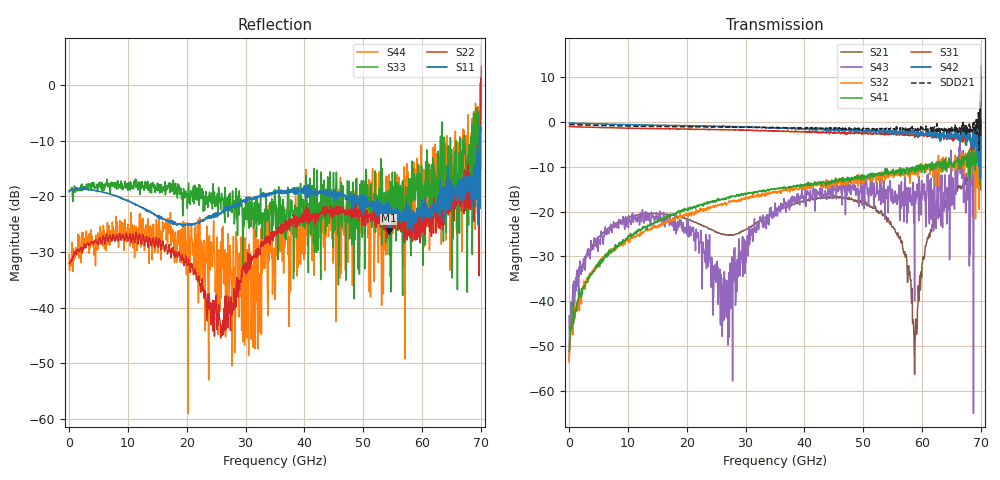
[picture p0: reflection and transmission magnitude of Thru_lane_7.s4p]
!Pstart = -2.000000E+001
!Pstop = -1.000000E+001
!Pstep = 2.564103E-001
! 4/30/2026 1:33:02 PM
! C:\ANRITSUVNA\TEMP\TEMP.S4P
! CHANNEL.1
! TR.MEASUREMENT
! CORRECTED.DATA
! RF.CORRECTION: FULL.FOUR.PORT.CAL.PORT.1.2.3.4
! AVERAGING.OFF
! IF.BANDWIDTH: 100HZ
! SWEEPTYPE:  FREQ.SWEEP(Linear)
! Reference Plane Port Info
! DISTANCE:  0  m  0  m  0  m  0  m
! TIME:  0  s  0  s  0  s  0  s
! PHASE.OFFSET:  0 °  0 °  0 °  0 °
! LOSS:  0  dB  0  dB  0  dB  0  dB
! REF.LOSS:  0  dB  0  dB  0  dB  0  dB
! REF.FREQ:  0  Hz  0  Hz  0  Hz  0  Hz
! Power Info
! POWER:  -20  dBm  -20  dBm  -20  dBm  -20  dBm
! EFF.POWER:  -20  dBm  -20  dBm  -40  dBm  -40  dBm
! SOURCE.ATTEN:  0  dB  0  dB  20  dB  20  dB
! TEST.ATTEN:  0  dB  0  dB  20  dB  20  dB
! Created with skrf 1.9.0 (http://scikit-rf.org).
# Hz S RI R 50.0
!freq ReS11 ImS11 ReS12 ImS12 ReS13 ImS13
! ReS14 ImS14
! ReS21 ImS21 ReS22 ImS22 ReS23 ImS23
! ReS24 ImS24
! ReS31 ImS31 ReS32 ImS32 ReS33 ImS33
! ReS34 ImS34
! ReS41 ImS41 ReS42 ImS42 ReS43 ImS43
! ReS44 ImS44
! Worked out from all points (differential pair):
!   1001 points, 10 MHz to 70 GHz, reference 50 ohm
!   strongest paths, dB at 10 MHz, 17.51 GHz, 35.01 GHz, 52.5 GHz, 70 GHz:
!     S42: -0.2, -0.8, -1.3, -2.0, 12.4
!     S31: -1.0, -1.5, -2.0, -2.6, -0.1
!     S41: -51.2, -20.8, -14.9, -11.7, 6.3
!     S32: -53.7, -21.8, -15.4, -12.8, 3.3
!     S43: -43.3, -21.8, -18.1, -16.1, 10.1
!     S21: -53.3, -20.8, -20.1, -19.8, -4.2
!   taken as a pair (ports 2,1 in; 4,3 out), SDD21 dB: -0.6, -1.1, -1.2, -1.5, 0.5
!   lowest |S11| = -26.2 dB at 54.32 GHz (marker M1), VSWR 1.10, Z = 52.9 - j4.14 ohm
!   |S11| at or under -10 dB: start of sweep to 69.77 GHz; 69.79845 GHz to 69.91778 GHz (119.3 MHz wide, 0.171 % of centre)
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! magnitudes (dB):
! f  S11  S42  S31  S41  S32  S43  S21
! 10 MHz  -19.0  -0.2  -1.0  -51.2  -53.7  -43.3  -53.3
! 9.739 GHz  -20.8  -0.6  -1.4  -25.9  -26.0  -21.8  -21.5
! 26.47 GHz  -22.6  -1.0  -1.8  -17.1  -18.3  -42.3  -25.2
! 54.32 GHz  -26.2  -1.9  -2.8  -11.3  -12.3  -15.7  -21.9
! 58.8 GHz  -24.7  -2.7  -3.3  -10.6  -11.7  -15.5  -49.7
! 68.39 GHz  -16.6  -3.7  -6.3  -8.2  -9.2  -5.3  -12.0
! 70 GHz  -8.4  12.4  -0.1  6.3  3.3  10.1  -4.2
